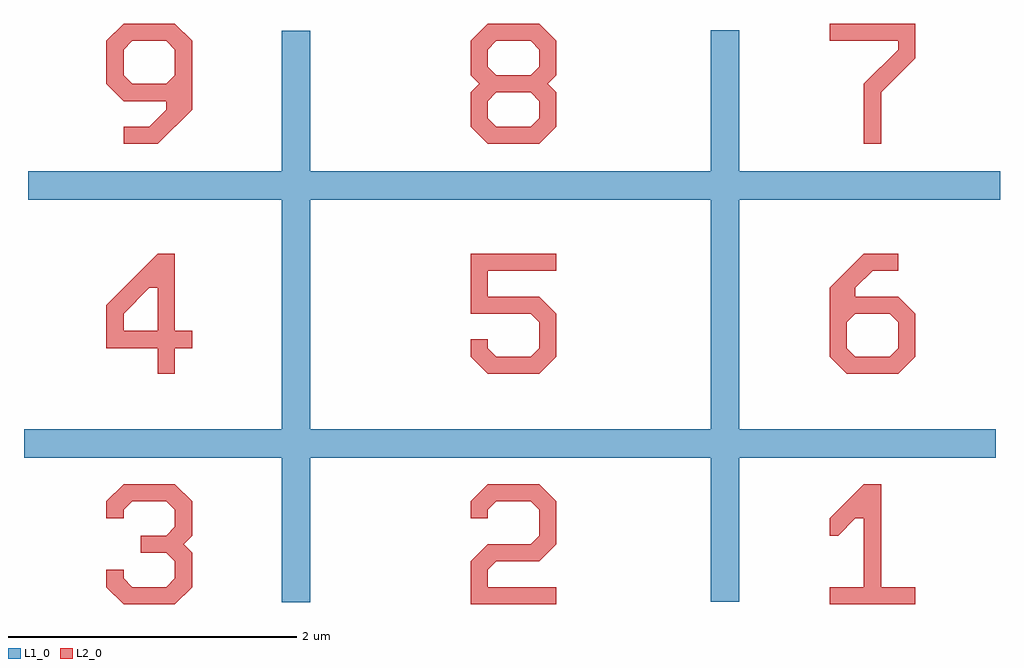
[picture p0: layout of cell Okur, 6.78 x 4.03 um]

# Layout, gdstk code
import gdstk
lib = gdstk.Library(unit=1e-6, precision=1e-09)
def R(c, l, rs):  # rectangles x0, y0, x1, y1
    for r in rs: c.add(gdstk.rectangle(r[:2], r[2:], *l))
def P(c, l, *ps):  # polygons
    for p in ps: c.add(gdstk.Polygon(p, *l))
L1_0 = (1, 0)
L2_0 = (2, 0)

text = lib.new_cell('TEXT')
P(text, L2_0, [(0,0),(0,0.1),(0.2,0.1),(0.2,0.5),(0.15,0.5),(0.05,0.4),(0,0.4),(0,0.5),(0.2,0.7),(0.3,0.7),(0.3,0.1),(0.5,0.1),(0.5,0)])

text_1 = lib.new_cell('TEXT$1')
P(text_1, L2_0, [(0,0),(0,0.25),(0.1,0.35),(0.35,0.35),(0.4,0.4),(0.4,0.55),(0.35,0.6),(0.15,0.6),(0.1,0.55),(0.1,0.5),(0,0.5),(0,0.6),(0.1,0.7),(0.4,0.7),(0.5,0.6),(0.5,0.35),(0.4,0.25),(0.15,0.25),(0.1,0.2),(0.1,0.1),(0.5,0.1),(0.5,0)])

text_2 = lib.new_cell('TEXT$2')
P(text_2, L2_0, [(0.3,0),(0.3,0.15),(0,0.15),(0,0.25),(0.3,0.25),(0.3,0.5),(0.25,0.5),(0.1,0.35),(0.1,0.25),(0,0.25),(0,0.4),(0.3,0.7),(0.4,0.7),(0.4,0.25),(0.5,0.25),(0.5,0.15),(0.4,0.15),(0.4,0)])

text_3 = lib.new_cell('TEXT$3')
P(text_3, L2_0, [(0.1,0),(0,0.1),(0,0.2),(0.1,0.2),(0.1,0.15),(0.15,0.1),(0.35,0.1),(0.4,0.15),(0.4,0.3),(0.35,0.35),(0,0.35),(0,0.7),(0.5,0.7),(0.5,0.6),(0.1,0.6),(0.1,0.45),(0.4,0.45),(0.5,0.35),(0.5,0.1),(0.4,0)])

text_4 = lib.new_cell('TEXT$4')
P(text_4, L2_0, [(0.1,0),(0.1,0.1),(0.25,0.1),(0.35,0.2),(0.35,0.25),(0.1,0.25),(0,0.35),(0.35,0.35),(0.4,0.4),(0.4,0.55),(0.35,0.6),(0.15,0.6),(0.1,0.55),(0.1,0.4),(0.15,0.35),(0,0.35),(0,0.6),(0.1,0.7),(0.4,0.7),(0.5,0.6),(0.5,0.2),(0.3,0)])

text_5 = lib.new_cell('TEXT$5')
P(text_5, L2_0, [(0.1,0),(0,0.1),(0,0.5),(0.2,0.7),(0.4,0.7),(0.4,0.6),(0.25,0.6),(0.15,0.5),(0.15,0.45),(0.4,0.45),(0.5,0.35),(0.15,0.35),(0.1,0.3),(0.1,0.15),(0.15,0.1),(0.35,0.1),(0.4,0.15),(0.4,0.3),(0.35,0.35),(0.5,0.35),(0.5,0.1),(0.4,0)])

text_6 = lib.new_cell('TEXT$6')
P(text_6, L2_0, [(0.2,0),(0.2,0.35),(0.4,0.55),(0.4,0.6),(0,0.6),(0,0.7),(0.5,0.7),(0.5,0.5),(0.3,0.3),(0.3,0)])

text_7 = lib.new_cell('TEXT$7')
P(text_7, L2_0, [(0.1,0),(0,0.1),(0,0.3),(0.05,0.35),(0,0.4),(0,0.6),(0.1,0.7),(0.4,0.7),(0.5,0.6),(0.15,0.6),(0.1,0.55),(0.1,0.45),(0.15,0.4),(0.35,0.4),(0.4,0.45),(0.4,0.55),(0.35,0.6),(0.5,0.6),(0.5,0.4),(0.45,0.35),(0.5,0.3),(0.15,0.3),(0.1,0.25),(0.1,0.15),(0.15,0.1),(0.35,0.1),(0.4,0.15),(0.4,0.25),(0.35,0.3),(0.5,0.3),(0.5,0.1),(0.4,0)])

text_8 = lib.new_cell('TEXT$8')
P(text_8, L2_0, [(0.1,0),(0,0.1),(0,0.2),(0.1,0.2),(0.1,0.15),(0.15,0.1),(0.35,0.1),(0.4,0.15),(0.4,0.25),(0.35,0.3),(0.2,0.3),(0.2,0.4),(0.35,0.4),(0.4,0.45),(0.4,0.55),(0.35,0.6),(0.15,0.6),(0.1,0.55),(0.1,0.5),(0,0.5),(0,0.6),(0.1,0.7),(0.4,0.7),(0.5,0.6),(0.5,0.4),(0.45,0.35),(0.5,0.3),(0.5,0.1),(0.4,0)])

okur = lib.new_cell('Okur')
R(okur, L1_0, [(-66.645,-1.702,-66.447,2.268), (-63.668,-1.698,-63.469,2.272), (-68.436,-0.698,-61.687,-0.499), (-68.408,1.093,-61.659,1.291)])
okur.add(gdstk.Reference(text, (-62.842,-1.714), magnification=1.191))
okur.add(gdstk.Reference(text_1, (-65.335,-1.714), magnification=1.191))
okur.add(gdstk.Reference(text_2, (-67.864,-0.114), magnification=1.191))
okur.add(gdstk.Reference(text_3, (-65.335,-0.114), magnification=1.191))
okur.add(gdstk.Reference(text_4, (-67.864,1.482), magnification=1.191))
okur.add(gdstk.Reference(text_5, (-62.842,-0.114), magnification=1.191))
okur.add(gdstk.Reference(text_6, (-62.842,1.482), magnification=1.191))
okur.add(gdstk.Reference(text_7, (-65.335,1.482), magnification=1.191))
okur.add(gdstk.Reference(text_8, (-67.864,-1.714), magnification=1.191))

lib.write_gds('Okur.gds')
